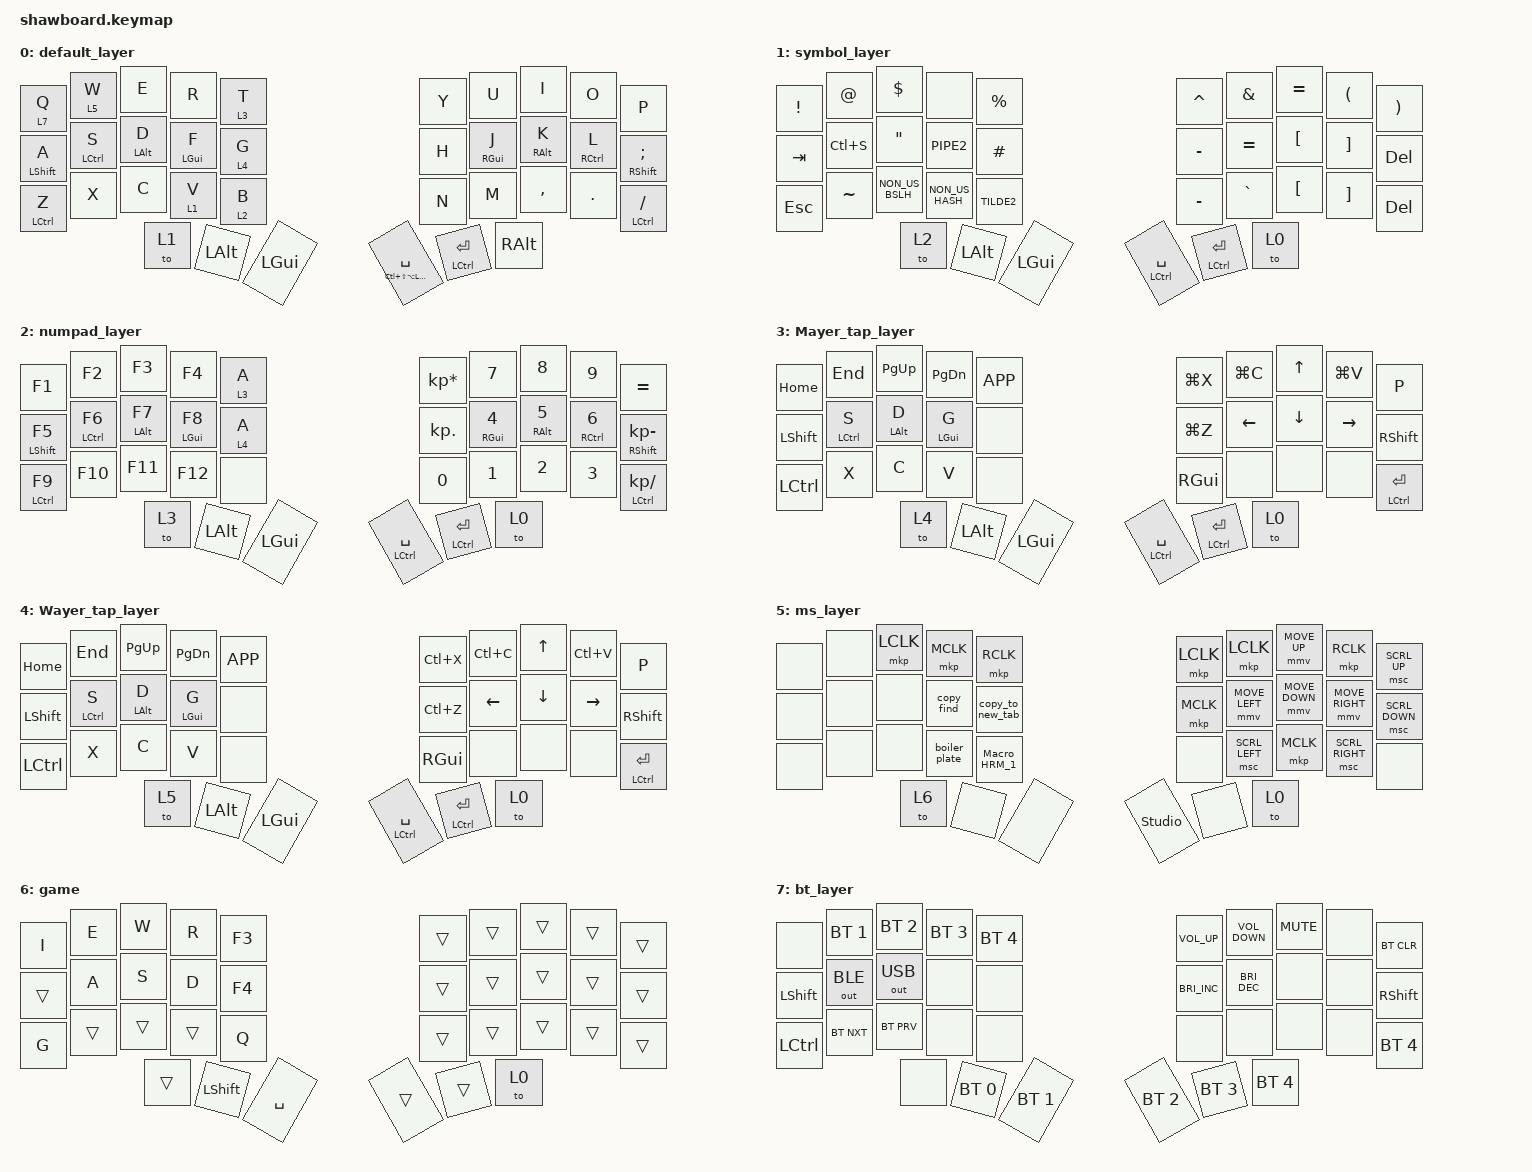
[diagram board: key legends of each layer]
/*
 * Copyright (c) 2020 The ZMK Contributors
 *
 * SPDX-License-Identifier: MIT
 */

#define ZMK_POINTING_DEFAULT_MOVE_VAL 900  // default: 600
#define ZMK_POINTING_DEFAULT_SCRL_VAL 10    // default: 10

#include <input/processors.dtsi>
#include <behaviors.dtsi>
#include <dt-bindings/zmk/bt.h>
#include <dt-bindings/zmk/keys.h>
#include <dt-bindings/zmk/outputs.h>
#include <dt-bindings/zmk/pointing.h>

/* macros
*/

/ {
    macros {
        Macro_HRM_1: Macro_HRM_1 {
            compatible = "zmk,behavior-macro";
            #binding-cells = <0>;
            bindings = <&kp LS(H) &kp E &kp L &kp L>;
            label = "MACRO_HRM_1";
        };

        copy_find: copy_find {
            compatible = "zmk,behavior-macro";
            #binding-cells = <0>;
            bindings = <&kp LC(C) &kp LC(F) &kp LC(V) &kp ENTER>;
            label = "COPY_FIND";
        };

        copy_to_new_tab: copy_to_new_tab {
            compatible = "zmk,behavior-macro";
            #binding-cells = <0>;
            bindings =
                <&kp LC(C) &kp LG(D) &kp LG(N1)>,
                <&macro_wait_time 150>,
                <&kp LC(T) &kp LC(V) &kp ENTER>;

            label = "COPY_TO_NEW_TAB";
        };

        boiler_plate: boiler_plate {
            compatible = "zmk,behavior-macro";
            #binding-cells = <0>;
            bindings = <&kp I &kp M &kp P>;
            label = "BOILER_PLATE";
        };

        face_palm: face_palm {
            compatible = "zmk,behavior-macro";
            #binding-cells = <0>;
            bindings = <&kp COLON &kp F &kp A &kp C &kp E &kp P &kp A &kp L &kp M &kp COLON>;
            label = "FACE_PALM";
        };
    };
};

&mt {
    flavor = "balanced";
    tapping_term_ms = <275>;
};

&lt {
    flavor = "tap-preferred";
    tapping_term_ms = <300>;
};

/ {
    combos {
        compatible = "zmk,combos";

        combo_esc {
            timeout-ms = <40>;
            key-positions = <0 1>;
            bindings = <&kp ESC>;
        };

        combo_tilde {
            timeout-ms = <40>;
            key-positions = <1 2>;
            bindings = <&kp GRAVE>;
        };

        combo_bspcl {
            timeout-ms = <40>;
            key-positions = <3 4>;
            bindings = <&kp BSPC>;
        };

        combo_tab {
            timeout-ms = <40>;
            key-positions = <10 11>;
            bindings = <&kp TAB>;
        };

        combo_word {
            timeout-ms = <40>;
            key-positions = <5 6 7>;
            bindings = <&kp LC(BSPC)>;
        };

        combo_bspc {
            timeout-ms = <40>;
            key-positions = <6 7>;
            bindings = <&kp BSPC>;
        };

        combo_del {
            timeout-ms = <40>;
            key-positions = <7 8>;
            bindings = <&kp DEL>;
        };

        combo_pipe {
            timeout-ms = <40>;
            key-positions = <8 9>;
            bindings = <&kp BSLH>;
        };

        combo_dash {
            timeout-ms = <40>;
            key-positions = <15 16>;
            bindings = <&kp MINUS>;
        };

        combo_qmrk {
            timeout-ms = <40>;
            key-positions = <16 17>;
            bindings = <&kp SINGLE_QUOTE>;
        };

        combo_excl {
            timeout-ms = <40>;
            key-positions = <16 17 18>;
            bindings = <&kp EXCL>;
        };

        combo_lpar {
            timeout-ms = <40>;
            key-positions = <26 27>;
            bindings = <&kp LPAR>;
        };

        combo_rpar {
            timeout-ms = <40>;
            key-positions = <27 28>;
            bindings = <&kp RPAR>;
        };

        combo_lbr {
            timeout-ms = <40>;
            key-positions = <25 26 27>;
            bindings = <&kp LEFT_BRACKET>;
        };

        combo_rbr {
            timeout-ms = <40>;
            key-positions = <26 27 28>;
            bindings = <&kp RIGHT_BRACKET>;
        };

        fp {
            bindings = <&face_palm>;
            key-positions = <6 7 8>;
        };
    };

    behaviors {
        hrl: hrl {
            compatible = "zmk,behavior-hold-tap";
            label = "HRL";
            bindings = <&kp>, <&kp>;

            #binding-cells = <2>;
            tapping-term-ms = <280>;
            quick-tap-ms = <175>;
            require-prior-idle-ms = <150>;
            flavor = "balanced";
            hold-trigger-on-release;
            hold-trigger-key-positions = <5 25 33 34 35 26 27 28 29 19 18 17 16 15 6 7 8 9>;
        };

        hrr: hrr {
            compatible = "zmk,behavior-hold-tap";
            label = "HRR";
            bindings = <&kp>, <&kp>;

            #binding-cells = <2>;
            tapping-term-ms = <280>;
            quick-tap-ms = <175>;
            require-prior-idle-ms = <150>;
            flavor = "balanced";
            hold-trigger-on-release;
            hold-trigger-key-positions = <0 10 20 21 22 30 31 32 24 23 11 12 1 2 3 13 14 4>;
        };
    };

    keymap {
        compatible = "zmk,keymap";

        default_layer {
            bindings = <
&lt 7 Q      &lt 5 W      &kp E       &kp R       &lt 3 T     &kp Y                       &kp U          &kp I       &kp O        &kp P
&mt LSHFT A  &mt LCTRL S  &mt LALT D  &mt LGUI F  &lt 4 G     &kp H                       &mt RGUI J     &mt RALT K  &mt RCTRL L  &mt RSHFT SEMI
&mt LCTRL Z  &kp X        &kp C       &lt 1 V     &lt 2 B     &kp N                       &kp M          &kp COMMA   &kp DOT      &mt LCTRL FSLH
                          &to 1       &kp LALT    &kp LGUI    &mt LC(LS(LA(LGUI))) SPACE  &mt LCTRL RET  &kp RALT
            >;
        };

        symbol_layer {
            bindings = <
&kp EXCL  &kp AT_SIGN  &kp DLLR         &none            &kp PERCENT    &kp CARET        &kp AMPS       &kp EQUAL  &kp LPAR  &kp RPAR
&kp TAB   &kp LC(S)    &kp DQT          &kp PIPE2        &kp HASH       &kp MINUS        &kp EQUAL      &kp LBKT   &kp RBKT  &kp DEL
&kp ESC   &kp TILDE    &kp NON_US_BSLH  &kp NON_US_HASH  &kp TILDE2     &kp MINUS        &kp GRAVE      &kp LBKT   &kp RBKT  &kp DEL
                       &to 2            &kp LALT         &kp LGUI       &mt LCTRL SPACE  &mt LCTRL RET  &to 0
            >;
        };

        numpad_layer {
            bindings = <
&kp F1         &kp F2         &kp F3        &kp F4        &lt 3 A     &kp KP_MULTIPLY  &kp N7         &kp N8        &kp N9         &kp EQUAL
&hrl LSHFT F5  &hrl LCTRL F6  &hrl LALT F7  &hrl LGUI F8  &lt 4 A     &kp KP_DOT       &hrr RGUI N4   &hrr RALT N5  &hrr RCTRL N6  &hrr RSHFT KP_MINUS
&mt LCTRL F9   &kp F10        &kp F11       &kp F12       &none       &kp N0           &kp N1         &kp N2        &kp N3         &mt LCTRL KP_DIVIDE
                              &to 3         &kp LALT      &kp LGUI    &mt LCTRL SPACE  &mt LCTRL RET  &to 0
            >;
        };

        Mayer_tap_layer {
            bindings = <
&kp HOME   &kp END      &kp PAGE_UP  &kp PAGE_DOWN  &kp K_APP    &kp LG(X)        &kp LG(C)      &kp UP    &kp LG(V)  &kp P
&kp LSHFT  &mt LCTRL S  &mt LALT D   &mt LGUI G     &none        &kp LG(Z)        &kp LEFT       &kp DOWN  &kp RIGHT  &kp RSHFT
&kp LCTRL  &kp X        &kp C        &kp V          &none        &kp RGUI         &none          &none     &none      &mt LCTRL RET
                        &to 4        &kp LALT       &kp LGUI     &mt LCTRL SPACE  &mt LCTRL RET  &to 0
            >;
        };

        Wayer_tap_layer {
            bindings = <
&kp HOME   &kp END       &kp PAGE_UP  &kp PAGE_DOWN  &kp K_APP    &kp LC(X)        &kp LC(C)      &kp UP    &kp LC(V)  &kp P
&kp LSHFT  &hrl LCTRL S  &hrl LALT D  &hrl LGUI G    &none        &kp LC(Z)        &kp LEFT       &kp DOWN  &kp RIGHT  &kp RSHFT
&kp LCTRL  &kp X         &kp C        &kp V          &none        &kp RGUI         &none          &none     &none      &mt LCTRL RET
                         &to 5        &kp LALT       &kp LGUI     &mt LCTRL SPACE  &mt LCTRL RET  &to 0
            >;
        };

        ms_layer {
            bindings = <
&none  &none  &mkp LCLK  &mkp MCLK      &mkp RCLK           &mkp LCLK       &mkp LCLK       &mmv MOVE_UP    &mkp RCLK        &msc SCRL_UP
&none  &none  &none      &copy_find     &copy_to_new_tab    &mkp MCLK       &mmv MOVE_LEFT  &mmv MOVE_DOWN  &mmv MOVE_RIGHT  &msc SCRL_DOWN
&none  &none  &none      &boiler_plate  &Macro_HRM_1        &none           &msc SCRL_LEFT  &mkp MCLK       &msc SCRL_RIGHT  &none
              &to 6      &none          &none               &studio_unlock  &none           &to 0
            >;
        };

        game {
            bindings = <
&kp I   &kp E   &kp W   &kp R      &kp F3       &trans  &trans  &trans  &trans  &trans
&trans  &kp A   &kp S   &kp D      &kp F4       &trans  &trans  &trans  &trans  &trans
&kp G   &trans  &trans  &trans     &kp Q        &trans  &trans  &trans  &trans  &trans
                &trans  &kp LSHFT  &kp SPACE    &trans  &trans  &to 0
            >;
        };

        bt_layer {
            bindings = <
&none      &bt BT_SEL 1  &bt BT_SEL 2  &bt BT_SEL 3  &bt BT_SEL 4    &kp C_VOLUME_UP       &kp C_VOLUME_DOWN     &kp C_MUTE    &none  &bt BT_CLR
&kp LSHFT  &out OUT_BLE  &out OUT_USB  &none         &none           &kp C_BRIGHTNESS_INC  &kp C_BRIGHTNESS_DEC  &none         &none  &kp RSHFT
&kp LCTRL  &bt BT_NXT    &bt BT_PRV    &none         &none           &none                 &none                 &none         &none  &bt BT_SEL 4
                         &none         &bt BT_SEL 0  &bt BT_SEL 1    &bt BT_SEL 2          &bt BT_SEL 3          &bt BT_SEL 4
            >;
        };
    };
};
